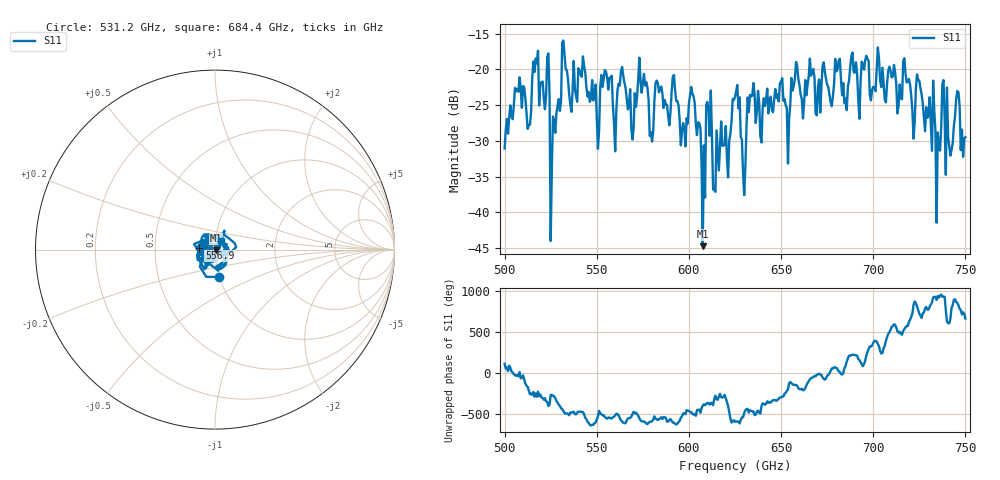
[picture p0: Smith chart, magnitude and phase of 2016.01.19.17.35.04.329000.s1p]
!Created with skrf (http://scikit-rf.org).
# GHz S RI R 50.0
!freq ReS11 ImS11
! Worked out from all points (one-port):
!   401 points, 500 GHz to 750 GHz, reference 50 ohm
!   lowest |S11| = -44.7 dB at 607.5 GHz (marker M1), VSWR 1.01, Z = 50.4 - j0.399 ohm
!   |S11| at or under -10 dB: start of sweep to end of sweep
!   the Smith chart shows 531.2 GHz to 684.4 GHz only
!   S11 on the Smith chart (normalised r, x): 531.2 GHz: 0.99, -0.31; 556.9 GHz: 0.84, +0.02; 684.4 GHz: 1.07, +0.10
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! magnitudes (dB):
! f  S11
! 500 GHz  -31.1
! 506.9 GHz  -22.7
! 513.1 GHz  -27.8
! 516.9 GHz  -18.5
! 523.1 GHz  -18.2
! 526.2 GHz  -26.6
! 531.2 GHz  -16.3
! 550 GHz  -26.7
! 556.9 GHz  -21.2
! 560 GHz  -31.4
! 562.5 GHz  -22.3
! 576.2 GHz  -22.3
! 579.4 GHz  -28.8
! 593.8 GHz  -24.4
! 601.9 GHz  -23.4
! 607.5 GHz  -44.7
! 610.6 GHz  -25.5
! 614.4 GHz  -37.1
! 625 GHz  -23.8
! 629.4 GHz  -34.6
! 634.4 GHz  -23.7
! 656.2 GHz  -23.0
! 684.4 GHz  -24.7
! 687.5 GHz  -19.7
! 718.8 GHz  -21.7
! 735 GHz  -28.8
! 745.6 GHz  -23.0
! 750 GHz  -29.5
